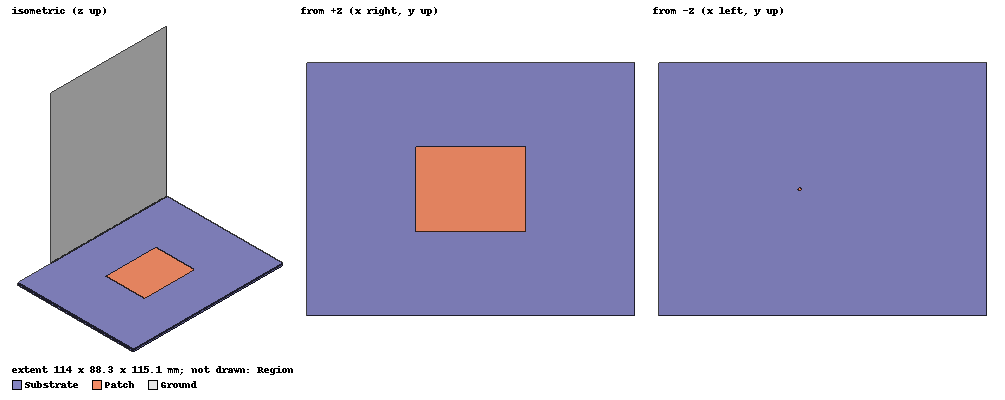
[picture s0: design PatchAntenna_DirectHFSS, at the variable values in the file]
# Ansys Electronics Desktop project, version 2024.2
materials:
  vacuum: permittivity=1
  FR4_epoxy: permittivity=4.4 dielectric_loss_tangent=0.02
  copper: permeability=0.999991 conductivity=58000000
  air: permittivity=1.0006 permeability=1.0000004

design PatchAntenna_DirectHFSS (HFSS, HFSS Terminal Network, model units mm)
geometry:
  Substrate [FR4_epoxy] = box(corner=(-57.014962mm, -44.148557mm, 0mm), size=(114.02992mm, 88.297114mm, -1.57mm))
  Ground = rectangle(corner=(-57.014962mm, -44.148557mm, -1.57mm), z_size=114.02992mm, x_size=88.297114mm)
  Patch [copper] = box(corner=(-19.004987mm, -14.716186mm, 0mm), size=(38.009975mm, 29.432371mm, 0.035mm))
  GND_Hole = circle(normal=Y, centre=(8mm, 0mm, -1.57mm), radius=1.1mm)
  Ground.subtract(GND_Hole)
  Pin = cylinder(axis=Z, base_centre=(8mm, 0mm, -1.57mm), radius=0.6mm, height=1.57mm)
  Port_Cap = circle(normal=Y, centre=(8mm, 0mm, -1.57mm), radius=1.1mm)
  Patch.unite(Pin)
  Region [air] = region(percentage_offset=300 on all sides)
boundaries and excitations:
  PerfE_FMTL1G: Perfect E Objects=[Ground, Patch]
  Rad__9PQG52: Radiation Objects=Region
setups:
  Auto1: HfssDriven Frequency=5GHz MaxDeltaE=0.1 MaximumPasses=6 MinimumPasses=1 MinimumConvergedPasses=1 PercentRefinement=30 BasisOrder=1 DrivenSolverType="Direct Solver"
  MainSetup: HfssDriven Frequency=2.4GHz MaxDeltaE=0.01 MaximumPasses=6 MinimumPasses=1 MinimumConvergedPasses=1 PercentRefinement=30 BasisOrder=1 DrivenSolverType="Direct Solver"
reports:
  Plot_AX275M:
